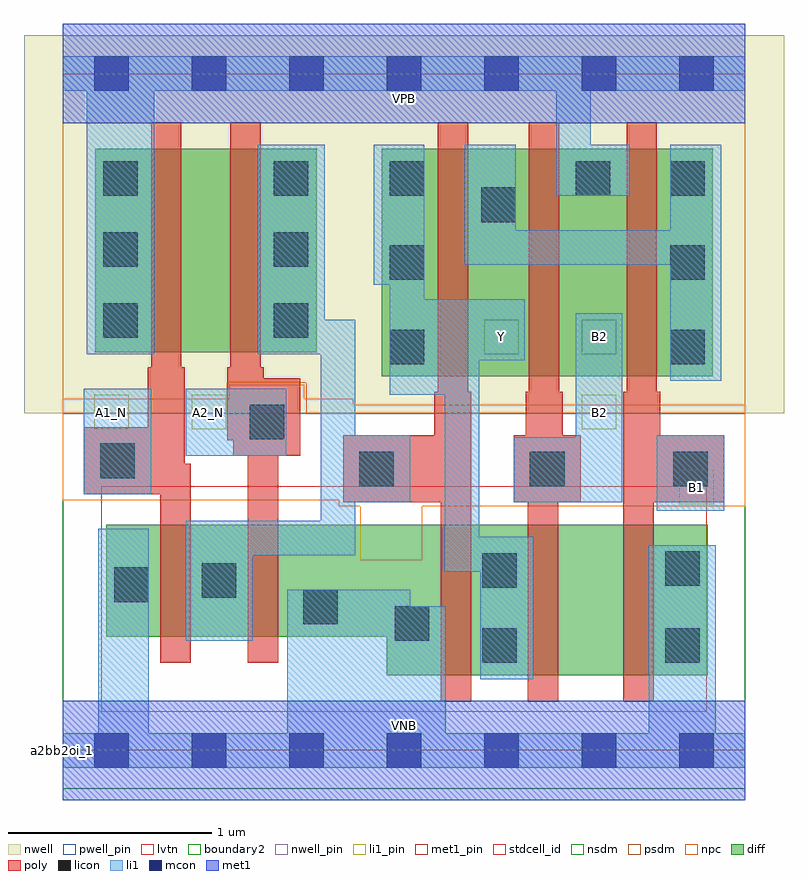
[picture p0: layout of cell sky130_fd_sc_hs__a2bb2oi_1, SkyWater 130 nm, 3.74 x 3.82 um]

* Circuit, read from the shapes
.subckt sky130_fd_sc_hs__a2bb2oi_1 A1_N A2_N B1 B2 VGND VNB VPB VPWR Y
XM1 n1 A1_N VGND VNB sky130_fd_pr__nfet_01v8_lvt w=0.55 l=0.15
XM2 VGND A2_N n1 VNB sky130_fd_pr__nfet_01v8_lvt w=0.55 l=0.15
XM3 Y n1 VGND VNB sky130_fd_pr__nfet_01v8_lvt w=0.74 l=0.15
XM4 n2 B2 Y VNB sky130_fd_pr__nfet_01v8_lvt w=0.74 l=0.15
XM5 VGND B1 n2 VNB sky130_fd_pr__nfet_01v8_lvt w=0.74 l=0.15
XM6 n3 A1_N VPWR VPB sky130_fd_pr__pfet_01v8 w=1 l=0.15
XM7 n1 A2_N n3 VPB sky130_fd_pr__pfet_01v8 w=1 l=0.15
XM8 n4 n1 Y VPB sky130_fd_pr__pfet_01v8 w=1.12 l=0.15
XM9 VPWR B2 n4 VPB sky130_fd_pr__pfet_01v8 w=1.12 l=0.15
XM10 n4 B1 VPWR VPB sky130_fd_pr__pfet_01v8 w=1.12 l=0.15
.ends

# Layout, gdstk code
import gdstk
lib = gdstk.Library(unit=1e-6, precision=1e-09)
def R(c, l, rs):  # rectangles x0, y0, x1, y1
    for r in rs: c.add(gdstk.rectangle(r[:2], r[2:], *l))
def A(c, l, x, y, w, h, nx, ny, dx, dy):  # array of equal rectangles
    R(c, l, [(x+i*dx, y+j*dy, x+i*dx+w, y+j*dy+h) for i in range(nx) for j in range(ny)])
def P(c, l, *ps):  # polygons
    for p in ps: c.add(gdstk.Polygon(p, *l))
nwell_pin = (64, 16)
nwell = (64, 20)
diff = (65, 20)
poly = (66, 20)
licon = (66, 44)
li1_pin = (67, 16)
li1 = (67, 20)
mcon = (67, 44)
met1_pin = (68, 16)
met1 = (68, 20)
stdcell_id = (81, 4)
nsdm = (93, 44)
psdm = (94, 20)
npc = (95, 20)
pwell_pin = (122, 16)
lvtn = (125, 44)
boundary2 = (236, 0)

sky130_fd_sc_hs__a2bb2oi = lib.new_cell('sky130_fd_sc_hs__a2bb2oi_1')
R(sky130_fd_sc_hs__a2bb2oi, nwell_pin, [(0,3.085,3.36,3.33)])
R(sky130_fd_sc_hs__a2bb2oi, nwell, [(-0.19,1.66,3.55,3.52)])
R(sky130_fd_sc_hs__a2bb2oi, diff, [(1.57,1.84,3.2,2.96), (0.16,1.96,1.25,2.96)])
P(sky130_fd_sc_hs__a2bb2oi, diff, [(3.175,1.11),(0.215,1.11),(0.215,0.56),(1.595,0.56),(1.595,0.37),(3.175,0.37)])
P(sky130_fd_sc_hs__a2bb2oi, poly, [(3.255,1.55),(2.94,1.55),(2.94,1.765),(2.925,1.765),(2.925,3.09),(2.775,3.09),(2.775,1.765),(2.76,1.765),(2.76,0.24),(2.91,0.24),(2.91,1.22),(3.255,1.22)],
  [(2.55,1.55),(2.46,1.55),(2.46,1.765),(2.445,1.765),(2.445,3.09),(2.295,3.09),(2.295,1.765),(2.28,1.765),(2.28,1.55),(2.22,1.55),(2.22,1.22),(2.29,1.22),(2.29,0.24),(2.44,0.24),(2.44,1.22),(2.55,1.22)],
  [(2.01,1.765),(1.995,1.765),(1.995,3.09),(1.845,3.09),(1.845,1.765),(1.83,1.765),(1.83,1.55),(1.38,1.55),(1.38,1.22),(1.86,1.22),(1.86,0.24),(2.01,0.24)],
  [(1.17,1.83),(0.99,1.83),(0.99,1.885),(0.975,1.885),(0.975,3.09),(0.825,3.09),(0.825,1.885),(0.81,1.885),(0.81,1.525),(0.84,1.525),(0.84,1.45),(0.91,1.45),(0.91,0.43),(1.06,0.43),(1.06,1.45),(1.17,1.45)],
  [(0.63,1.41),(0.6,1.41),(0.6,1.885),(0.585,1.885),(0.585,3.09),(0.435,3.09),(0.435,1.885),(0.42,1.885),(0.42,1.59),(0.105,1.59),(0.105,1.26),(0.48,1.26),(0.48,0.43),(0.63,0.43)])
A(sky130_fd_sc_hs__a2bb2oi, licon, 1.61, 1.9, 0.17, 0.17, 1, 3, 0, 0.415)
A(sky130_fd_sc_hs__a2bb2oi, licon, 2.99, 1.9, 0.17, 0.17, 1, 3, 0, 0.415)
A(sky130_fd_sc_hs__a2bb2oi, licon, 0.2, 2.03, 0.17, 0.17, 1, 3, 0, 0.35)
A(sky130_fd_sc_hs__a2bb2oi, licon, 1.04, 2.03, 0.17, 0.17, 1, 3, 0, 0.35)
R(sky130_fd_sc_hs__a2bb2oi, licon, [(2.065,0.43,2.235,0.6), (2.965,0.43,3.135,0.6), (1.635,0.54,1.805,0.71), (1.185,0.62,1.355,0.79), (0.255,0.73,0.425,0.9), (0.685,0.75,0.855,0.92), (2.065,0.8,2.235,0.97), (2.965,0.81,3.135,0.98), (1.46,1.3,1.63,1.47), (2.3,1.3,2.47,1.47), (3.005,1.3,3.175,1.47), (0.185,1.34,0.355,1.51), (0.92,1.53,1.09,1.7), (2.06,2.6,2.23,2.77), (2.525,2.73,2.695,2.9)])
R(sky130_fd_sc_hs__a2bb2oi, li1_pin, [(3.035,1.21,3.205,1.38), (0.155,1.58,0.325,1.75), (0.635,1.58,0.805,1.75), (2.555,1.58,2.725,1.75), (2.075,1.95,2.245,2.12), (2.555,1.95,2.725,2.12)])
R(sky130_fd_sc_hs__a2bb2oi, li1, [(2.925,1.18,3.255,1.55), (0.105,1.26,0.435,1.78), (0.605,1.45,1.1,1.78)])
P(sky130_fd_sc_hs__a2bb2oi, li1, [(0.12,1.95),(0.12,3.245),(0,3.245),(0,3.415),(3.36,3.415),(3.36,3.245),(2.6,3.245),(2.6,2.98),(2.79,2.98),(2.79,2.73),(2.43,2.73),(2.43,3.245),(0.45,3.245),(0.45,1.95)],
  [(2.315,1.05),(2.05,1.05),(2.05,1.92),(2.275,1.92),(2.275,2.22),(1.78,2.22),(1.78,2.98),(1.53,2.98),(1.53,2.29),(1.61,2.29),(1.61,1.75),(1.88,1.75),(1.88,0.88),(2.055,0.88),(2.055,0.35),(2.315,0.35)],
  [(1.71,1.55),(1.44,1.55),(1.44,2.12),(1.29,2.12),(1.29,2.98),(0.96,2.98),(0.96,1.95),(1.27,1.95),(1.27,1.13),(0.605,1.13),(0.605,0.54),(0.935,0.54),(0.935,0.96),(1.44,0.96),(1.44,1.22),(1.71,1.22)],
  [(2.99,1.82),(2.99,2.39),(1.98,2.39),(1.98,2.98),(2.23,2.98),(2.23,2.56),(2.99,2.56),(2.99,2.98),(3.24,2.98),(3.24,1.82)],
  [(2.525,1.54),(2.525,2.15),(2.755,2.15),(2.755,1.22),(2.22,1.22),(2.22,1.54)],
  [(3.36,0.085),(3.215,0.085),(3.215,1.01),(2.885,1.01),(2.885,0.085),(1.885,0.085),(1.885,0.71),(1.71,0.71),(1.71,0.79),(1.105,0.79),(1.105,0.085),(0.425,0.085),(0.425,1.09),(0.175,1.09),(0.175,0.085),(0,0.085),(0,-0.085),(3.36,-0.085)])
A(sky130_fd_sc_hs__a2bb2oi, mcon, 0.155, -0.085, 0.17, 0.17, 7, 2, 0.48, 3.33)
R(sky130_fd_sc_hs__a2bb2oi, met1_pin, [(0,0,3.36,0.245), (0,3.085,3.36,3.33)])
R(sky130_fd_sc_hs__a2bb2oi, met1, [(0,-0.245,3.36,0.245), (0,3.085,3.36,3.575)])
R(sky130_fd_sc_hs__a2bb2oi, stdcell_id, [(0,0,3.36,3.33)])
R(sky130_fd_sc_hs__a2bb2oi, nsdm, [(0,-0.19,3.36,1.66)])
P(sky130_fd_sc_hs__a2bb2oi, psdm, [(3.36,3.52),(0,3.52),(0,1.66),(0.81,1.66),(0.81,1.81),(1.2,1.81),(1.2,1.66),(3.36,1.66)])
P(sky130_fd_sc_hs__a2bb2oi, npc, [(3.36,1.7),(1.43,1.7),(1.43,1.73),(1.19,1.73),(1.19,1.8),(0.82,1.8),(0.82,1.73),(0,1.73),(0,1.23),(1.36,1.23),(1.36,1.2),(1.465,1.2),(1.465,0.935),(1.77,0.935),(1.77,1.2),(3.36,1.2)])
R(sky130_fd_sc_hs__a2bb2oi, pwell_pin, [(0,0,3.36,0.245)])
R(sky130_fd_sc_hs__a2bb2oi, lvtn, [(0.19,0.19,3.17,1.3)])
R(sky130_fd_sc_hs__a2bb2oi, boundary2, [(0,0,3.36,3.33)])
sky130_fd_sc_hs__a2bb2oi.add(gdstk.Label('a2bb2oi_1', (0,0), layer=83, texttype=44))
sky130_fd_sc_hs__a2bb2oi.add(gdstk.Label('VNB', (1.68,0.123), layer=64, texttype=59))
sky130_fd_sc_hs__a2bb2oi.add(gdstk.Label('VPB', (1.68,3.208), layer=64, texttype=5))
sky130_fd_sc_hs__a2bb2oi.add(gdstk.Label('VPWR', (1.68,3.208), layer=68, texttype=5))
sky130_fd_sc_hs__a2bb2oi.add(gdstk.Label('VGND', (1.68,0.123), layer=68, texttype=5))
sky130_fd_sc_hs__a2bb2oi.add(gdstk.Label('Y', (2.16,2.035), layer=67, texttype=5))
sky130_fd_sc_hs__a2bb2oi.add(gdstk.Label('A2_N', (0.72,1.665), layer=67, texttype=5))
sky130_fd_sc_hs__a2bb2oi.add(gdstk.Label('A1_N', (0.24,1.665), layer=67, texttype=5))
sky130_fd_sc_hs__a2bb2oi.add(gdstk.Label('B2', (2.64,1.665), layer=67, texttype=5))
sky130_fd_sc_hs__a2bb2oi.add(gdstk.Label('B2', (2.64,2.035), layer=67, texttype=5))
sky130_fd_sc_hs__a2bb2oi.add(gdstk.Label('B1', (3.12,1.295), layer=67, texttype=5))

lib.write_gds('sky130_fd_sc_hs__a2bb2oi_1.gds')
